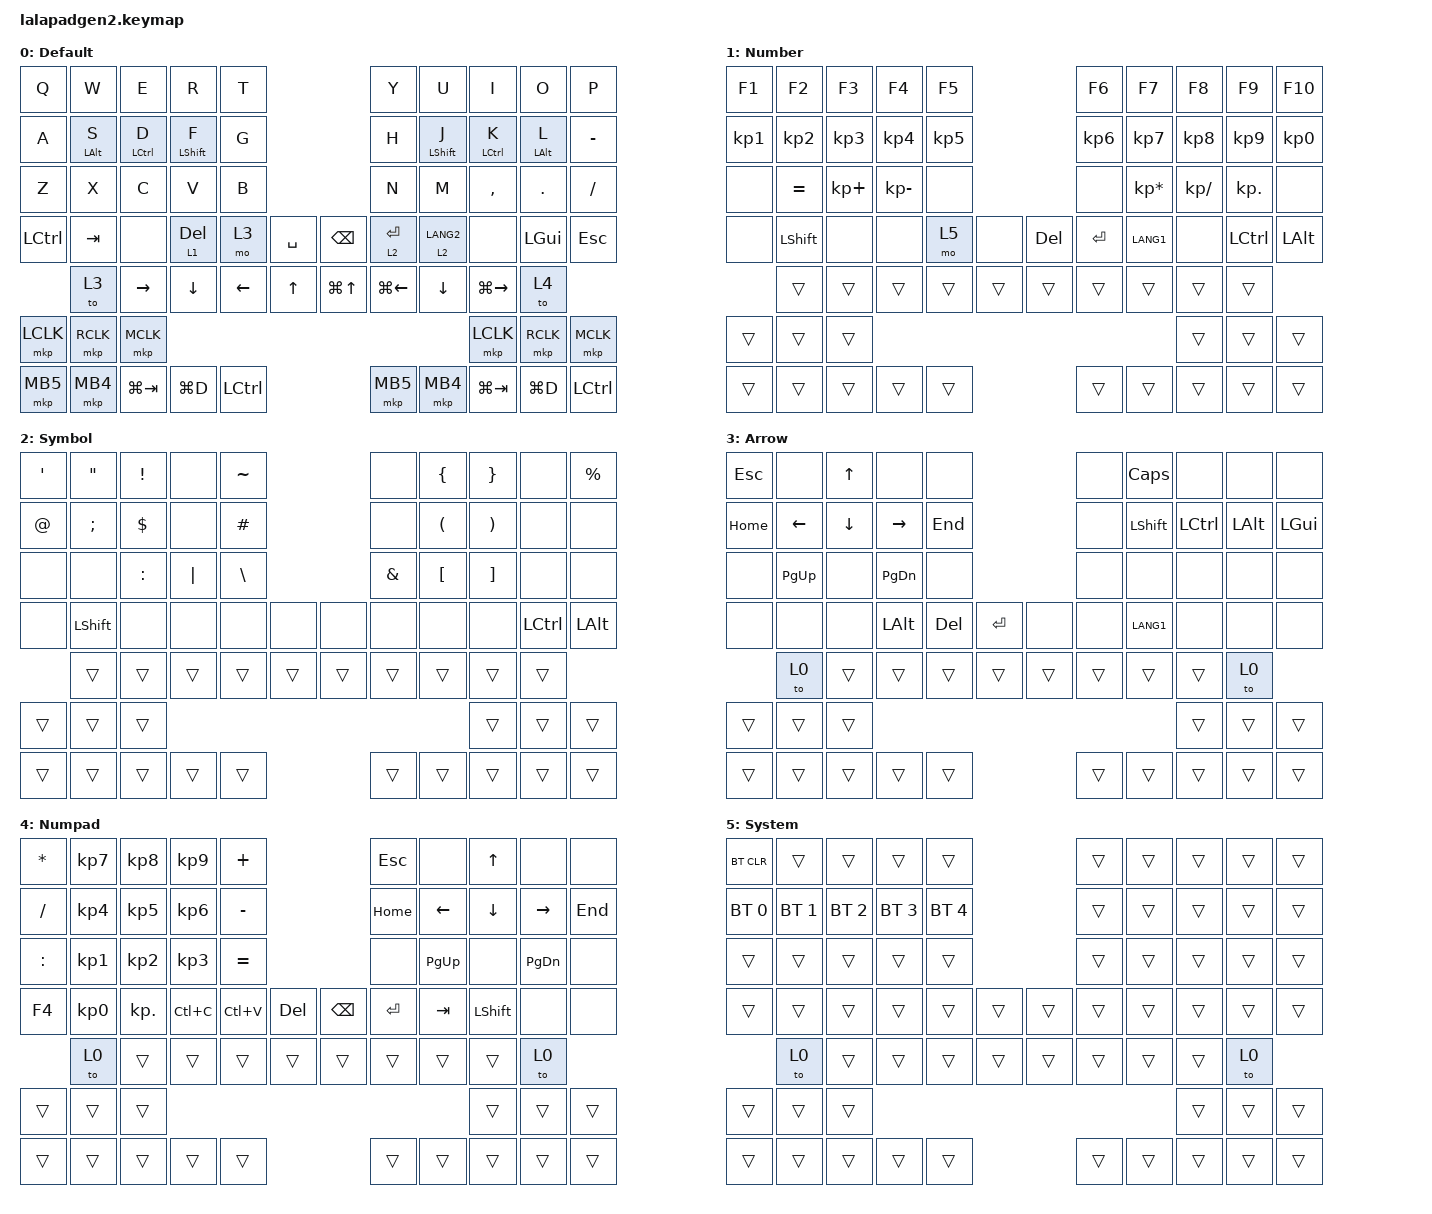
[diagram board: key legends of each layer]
#include <input/processors.dtsi>
#include <dt-bindings/zmk/zip_dynamic_scale.h>
#include <behaviors.dtsi>
#include <dt-bindings/zmk/bt.h>
#include <dt-bindings/zmk/keys.h>
#include <dt-bindings/zmk/pointing.h>

#define Default    0
#define Number    1
#define Symbol    2
#define Arrow    3
#define Numpad    4
#define System    5

&mt {
    tapping-term-ms = <275>;
    flavor = "balanced";
    require-prior-idle-ms = <150>;
    quick-tap-ms = <175>;
    hold-trigger-on-release;
};

&lt {
    tapping-term-ms = <275>;
    flavor = "balanced";
    quick-tap-ms = <175>;
    require-prior-idle-ms = <150>;
    hold-trigger-on-release;
};

/ {
    behaviors {
        zip_dyn_scale: zip_dyn_scale {
            compatible = "zmk,behavior-zip-dynamic-scale";
            #binding-cells = <2>;
        };

        zip_dyn_scale_set: zip_dyn_scale_set {
            compatible = "zmk,behavior-zip-dynamic-scale-set";
            #binding-cells = <2>;
        };

        mt2: mod_tap2 {
            compatible = "zmk,behavior-hold-tap";
            #binding-cells = <2>;
            flavor = "balanced";
            tapping-term-ms = <300>;
            quick-tap-ms = <200>;
            require-prior-idle-ms = <125>;
            bindings = <&kp>, <&kp>;
        };

        tap_dance_layer_1and2: tap_dance_layer_1and2 {
            compatible = "zmk,behavior-tap-dance";
            label = "td_mo12";
            #binding-cells = <0>;
            bindings = <&mo 1>, <&mo 2>;
        };
    };

    combos { compatible = "zmk,combos"; };

    keymap {
        compatible = "zmk,keymap";

        Default {
            display-name = "Default";
            bindings = <
&kp Q      &kp W           &kp E        &kp R             &kp T                                &kp Y         &kp U             &kp I          &kp O           &kp P
&kp A      &mt LEFT_ALT S  &mt LCTRL D  &mt LEFT_SHIFT F  &kp G                                &kp H         &mt LEFT_SHIFT J  &mt LCTRL K    &mt LEFT_ALT L  &kp MINUS
&kp Z      &kp X           &kp C        &kp V             &kp B                                &kp N         &kp M             &kp COMMA      &kp PERIOD      &kp SLASH
&kp LCTRL  &kp TAB         &none        &lt 1 DEL         &mo 3      &kp SPACE  &kp BACKSPACE  &lt 2 ENTER   &lt 2 LANG2       &none          &kp LEFT_GUI    &kp ESC
           &to 3           &kp RIGHT    &kp DOWN          &kp LEFT   &kp UP     &kp LG(UP)     &kp LG(LEFT)  &kp DOWN          &kp LG(RIGHT)  &to 4
&mkp LCLK  &mkp RCLK       &mkp MCLK                                                                                           &mkp LCLK      &mkp RCLK       &mkp MCLK
&mkp MB5   &mkp MB4        &kp LG(TAB)  &kp LG(D)         &kp LCTRL                            &mkp MB5      &mkp MB4          &kp LG(TAB)    &kp LG(D)       &kp LCTRL
            >;
        };

        Number {
            display-name = "Number";
            bindings = <
&kp F1           &kp F2           &kp F3           &kp F4           &kp F5                            &kp F6           &kp F7           &kp F8           &kp F9           &kp F10
&kp KP_NUMBER_1  &kp KP_NUMBER_2  &kp KP_NUMBER_3  &kp KP_NUMBER_4  &kp KP_NUMBER_5                   &kp KP_NUMBER_6  &kp KP_NUMBER_7  &kp KP_NUMBER_8  &kp KP_NUMBER_9  &kp KP_NUMBER_0
&none            &kp EQUAL        &kp KP_PLUS      &kp KP_MINUS     &none                             &none            &kp KP_ASTERISK  &kp KP_SLASH     &kp KP_DOT       &none
&none            &kp LSHIFT       &none            &none            &mo 5            &none   &kp DEL  &kp ENTER        &kp LANG1        &none            &kp LCTRL        &kp LEFT_ALT
                 &trans           &trans           &trans           &trans           &trans  &trans   &trans           &trans           &trans           &trans
&trans           &trans           &trans                                                                                                &trans           &trans           &trans
&trans           &trans           &trans           &trans           &trans                            &trans           &trans           &trans           &trans           &trans
            >;
        };

        Symbol {
            display-name = "Symbol";
            bindings = <
&kp SQT  &kp DQT        &kp EXCL    &none     &kp TILDE                      &none          &kp LBRC  &kp RBRC  &none      &kp PERCENT
&kp AT   &kp SEMICOLON  &kp DOLLAR  &none     &kp HASH                       &none          &kp LPAR  &kp RPAR  &none      &none
&none    &none          &kp COLON   &kp PIPE  &kp BACKSLASH                  &kp AMPERSAND  &kp LBKT  &kp RBKT  &none      &none
&none    &kp LSHIFT     &none       &none     &none          &none   &none   &none          &none     &none     &kp LCTRL  &kp LALT
         &trans         &trans      &trans    &trans         &trans  &trans  &trans         &trans    &trans    &trans
&trans   &trans         &trans                                                                        &trans    &trans     &trans
&trans   &trans         &trans      &trans    &trans                         &trans         &trans    &trans    &trans     &trans
            >;
        };

        Arrow {
            display-name = "Arrow";
            bindings = <
&kp ESC   &none        &kp UP    &none          &none                       &none   &kp CAPS    &none      &none         &none
&kp HOME  &kp LEFT     &kp DOWN  &kp RIGHT      &kp END                     &none   &kp LSHIFT  &kp LCTRL  &kp LEFT_ALT  &kp LEFT_GUI
&none     &kp PAGE_UP  &none     &kp PAGE_DOWN  &none                       &none   &none       &none      &none         &none
&none     &none        &none     &kp LEFT_ALT   &kp DEL  &kp ENTER  &none   &none   &kp LANG1   &none      &none         &none
          &to 0        &trans    &trans         &trans   &trans     &trans  &trans  &trans      &trans     &to 0
&trans    &trans       &trans                                                                   &trans     &trans        &trans
&trans    &trans       &trans    &trans         &trans                      &trans  &trans      &trans     &trans        &trans
            >;
        };

        Numpad {
            bindings = <
&kp ASTRK  &kp KP_NUMBER_7  &kp KP_NUMBER_8  &kp KP_NUMBER_9  &kp PLUS                              &kp ESCAPE  &none        &kp UP      &none          &none
&kp SLASH  &kp KP_NUMBER_4  &kp KP_NUMBER_5  &kp KP_NUMBER_6  &kp MINUS                             &kp HOME    &kp LEFT     &kp DOWN    &kp RIGHT      &kp END
&kp COLON  &kp KP_NUMBER_1  &kp KP_NUMBER_2  &kp KP_NUMBER_3  &kp EQUAL                             &none       &kp PAGE_UP  &none       &kp PAGE_DOWN  &none
&kp F4     &kp KP_NUMBER_0  &kp KP_DOT       &kp LC(C)        &kp LC(V)  &kp DELETE  &kp BACKSPACE  &kp ENTER   &kp TAB      &kp LSHIFT  &none          &none
           &to 0            &trans           &trans           &trans     &trans      &trans         &trans      &trans       &trans      &to 0
&trans     &trans           &trans                                                                                           &trans      &trans         &trans
&trans     &trans           &trans           &trans           &trans                                &trans      &trans       &trans      &trans         &trans
            >;

            label = "Numpad";
        };

        System {
            bindings = <
&bt BT_CLR    &trans        &trans        &trans        &trans                        &trans  &trans  &trans  &trans  &trans
&bt BT_SEL 0  &bt BT_SEL 1  &bt BT_SEL 2  &bt BT_SEL 3  &bt BT_SEL 4                  &trans  &trans  &trans  &trans  &trans
&trans        &trans        &trans        &trans        &trans                        &trans  &trans  &trans  &trans  &trans
&trans        &trans        &trans        &trans        &trans        &trans  &trans  &trans  &trans  &trans  &trans  &trans
              &to 0         &trans        &trans        &trans        &trans  &trans  &trans  &trans  &trans  &to 0
&trans        &trans        &trans                                                                    &trans  &trans  &trans
&trans        &trans        &trans        &trans        &trans                        &trans  &trans  &trans  &trans  &trans
            >;

            label = "System";
        };
    };

    conditional_layers { compatible = "zmk,conditional-layers"; };
};
